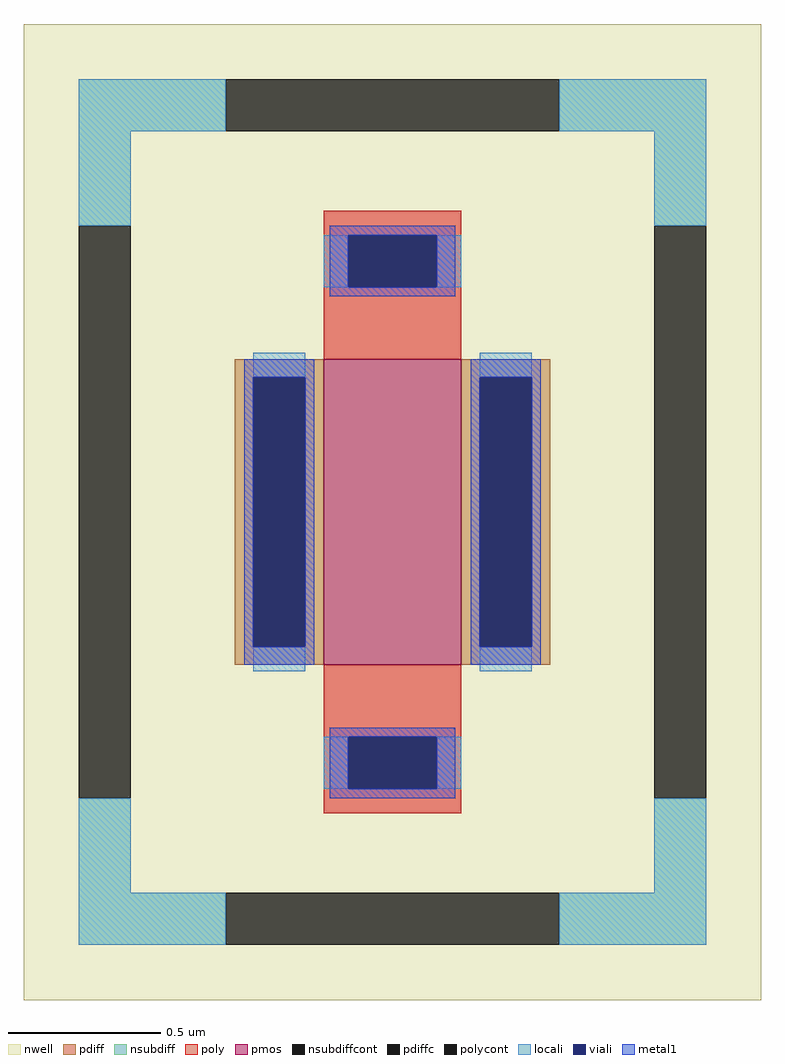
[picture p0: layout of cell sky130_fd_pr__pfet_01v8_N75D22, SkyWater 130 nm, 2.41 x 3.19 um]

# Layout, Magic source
magic
tech sky130A
magscale 1 2
<< nwell >>
rect -241 -319 241 319
<< pmos >>
rect -45 -100 45 100
<< pdiff >>
rect -103 88 -45 100
rect -103 -88 -91 88
rect -57 -88 -45 88
rect -103 -100 -45 -88
rect 45 88 103 100
rect 45 -88 57 88
rect 91 -88 103 88
rect 45 -100 103 -88
<< pdiffc >>
rect -91 -88 -57 88
rect 57 -88 91 88
<< nsubdiff >>
rect -205 249 -109 283
rect 109 249 205 283
rect -205 187 -171 249
rect 171 187 205 249
rect -205 -249 -171 -187
rect 171 -249 205 -187
rect -205 -283 -109 -249
rect 109 -283 205 -249
<< nsubdiffcont >>
rect -109 249 109 283
rect -205 -187 -171 187
rect 171 -187 205 187
rect -109 -283 109 -249
<< poly >>
rect -45 181 45 197
rect -45 147 -29 181
rect 29 147 45 181
rect -45 100 45 147
rect -45 -147 45 -100
rect -45 -181 -29 -147
rect 29 -181 45 -147
rect -45 -197 45 -181
<< polycont >>
rect -29 147 29 181
rect -29 -181 29 -147
<< locali >>
rect -205 249 -109 283
rect 109 249 205 283
rect -205 187 -171 249
rect 171 187 205 249
rect -45 147 -29 181
rect 29 147 45 181
rect -91 88 -57 104
rect -91 -104 -57 -88
rect 57 88 91 104
rect 57 -104 91 -88
rect -45 -181 -29 -147
rect 29 -181 45 -147
rect -205 -249 -171 -187
rect 171 -249 205 -187
rect -205 -283 -109 -249
rect 109 -283 205 -249
<< viali >>
rect -29 147 29 181
rect -91 -88 -57 88
rect 57 -88 91 88
rect -29 -181 29 -147
<< metal1 >>
rect -41 181 41 187
rect -41 147 -29 181
rect 29 147 41 181
rect -41 141 41 147
rect -97 88 -51 100
rect -97 -88 -91 88
rect -57 -88 -51 88
rect -97 -100 -51 -88
rect 51 88 97 100
rect 51 -88 57 88
rect 91 -88 97 88
rect 51 -100 97 -88
rect -41 -147 41 -141
rect -41 -181 -29 -147
rect 29 -181 41 -147
rect -41 -187 41 -181
<< properties >>
string FIXED_BBOX -188 -266 188 266
string gencell sky130_fd_pr__pfet_01v8
string library sky130
string parameters w 1 l 0.45 m 1 nf 1 diffcov 100 polycov 100 guard 1 glc 1 grc 1 gtc 1 gbc 1 tbcov 100 rlcov 100 topc 1 botc 1 poverlap 0 doverlap 1 lmin 0.15 wmin 0.42 compatible {sky130_fd_pr__pfet_01v8  sky130_fd_pr__pfet_01v8_lvt sky130_fd_pr__pfet_01v8_hvt  sky130_fd_pr__pfet_g5v0d10v5} full_metal 1 viasrc 100 viadrn 100 viagate 100 viagb 0 viagr 0 viagl 0 viagt 0
<< end >>
